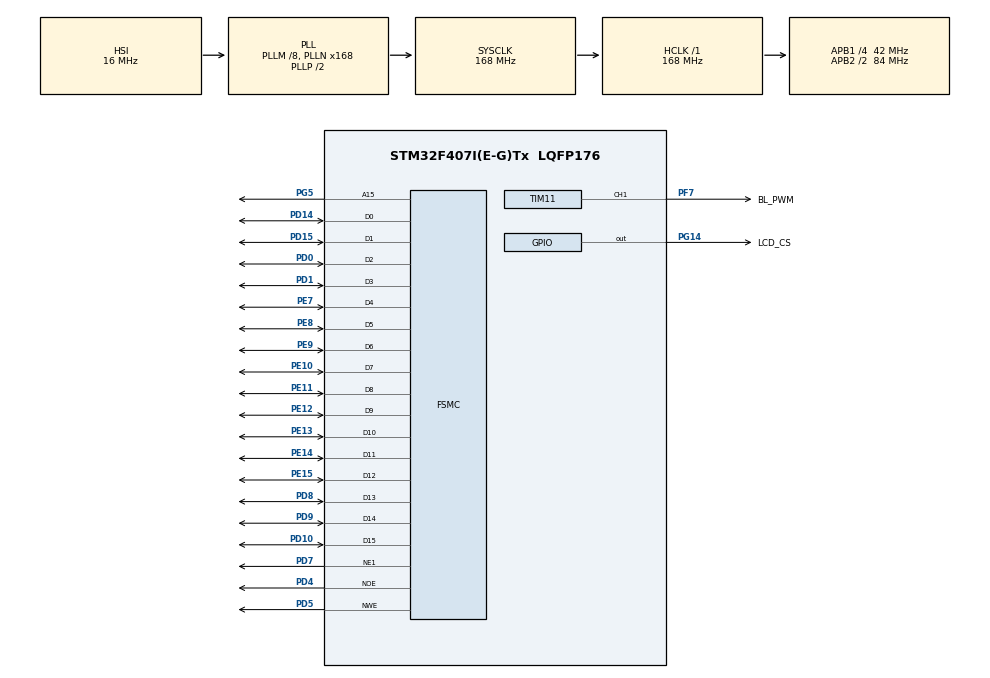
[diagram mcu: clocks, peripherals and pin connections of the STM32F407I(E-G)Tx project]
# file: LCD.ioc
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FSMC.AddressSetupTime1=4
FSMC.BusTurnAroundDuration1=0
FSMC.DataSetupTime1=40
Mcu.Family=STM32F4
Mcu.Name=STM32F407I(E-G)Tx
Mcu.Package=LQFP176
NVIC.PriorityGroup=NVIC_PRIORITYGROUP_4
NVIC.TIM1_TRG_COM_TIM11_IRQn=true\:0\:0\:false\:false\:true
PD0.Signal=FSMC_D2_DA2
PD1.Signal=FSMC_D3_DA3
PD10.Signal=FSMC_D15_DA15
PD14.Signal=FSMC_D0_DA0
PD15.Signal=FSMC_D1_DA1
PD4.Signal=FSMC_NOE
PD5.Signal=FSMC_NWE
PD7.Mode=NorPsramChipSelect1_1
PD7.Signal=FSMC_NE1
PD8.Signal=FSMC_D13_DA13
PD9.Signal=FSMC_D14_DA14
PE10.Signal=FSMC_D7_DA7
PE11.Signal=FSMC_D8_DA8
PE12.Signal=FSMC_D9_DA9
PE13.Signal=FSMC_D10_DA10
PE14.Signal=FSMC_D11_DA11
PE15.Signal=FSMC_D12_DA12
PE7.Signal=FSMC_D4_DA4
PE8.Signal=FSMC_D5_DA5
PE9.Signal=FSMC_D6_DA6
PF7.GPIO_Label=BL_PWM
PF7.Signal=S_TIM11_CH1
PG14.GPIO_Label=LCD_CS
PG14.Signal=GPIO_Output
PG5.Signal=FSMC_A15
PH0-OSC_IN.Mode=HSE-External-Oscillator
PH0-OSC_IN.Signal=RCC_OSC_IN
PH1-OSC_OUT.Mode=HSE-External-Oscillator
PH1-OSC_OUT.Signal=RCC_OSC_OUT
ProjectManager.HeapSize=0x200
ProjectManager.StackSize=0x400
ProjectManager.TargetToolchain=MDK-ARM V5
RCC.48MHZClocksFreq_Value=84000000
RCC.AHBFreq_Value=168000000
RCC.APB1CLKDivider=RCC_HCLK_DIV4
RCC.APB1Freq_Value=42000000
RCC.APB1TimFreq_Value=84000000
RCC.APB2CLKDivider=RCC_HCLK_DIV2
RCC.APB2Freq_Value=84000000
RCC.APB2TimFreq_Value=168000000
RCC.CortexFreq_Value=168000000
RCC.HCLKFreq_Value=168000000
RCC.HSE_VALUE=8000000
RCC.HSI_VALUE=16000000
RCC.LSE_VALUE=32768
RCC.PLLM=8
RCC.PLLN=168
RCC.SYSCLKFreq_VALUE=168000000
RCC.SYSCLKSource=RCC_SYSCLKSOURCE_PLLCLK
RCC.VCOOutputFreq_Value=336000000
SH.FSMC_A15.0=FSMC_A15,A15_1
SH.FSMC_D0_DA0.0=FSMC_D0,16b-d1
SH.FSMC_D10_DA10.0=FSMC_D10,16b-d1
SH.FSMC_D11_DA11.0=FSMC_D11,16b-d1
SH.FSMC_D12_DA12.0=FSMC_D12,16b-d1
SH.FSMC_D13_DA13.0=FSMC_D13,16b-d1
SH.FSMC_D14_DA14.0=FSMC_D14,16b-d1
SH.FSMC_D15_DA15.0=FSMC_D15,16b-d1
SH.FSMC_D1_DA1.0=FSMC_D1,16b-d1
SH.FSMC_D2_DA2.0=FSMC_D2,16b-d1
SH.FSMC_D3_DA3.0=FSMC_D3,16b-d1
SH.FSMC_D4_DA4.0=FSMC_D4,16b-d1
SH.FSMC_D5_DA5.0=FSMC_D5,16b-d1
SH.FSMC_D6_DA6.0=FSMC_D6,16b-d1
SH.FSMC_D7_DA7.0=FSMC_D7,16b-d1
SH.FSMC_D8_DA8.0=FSMC_D8,16b-d1
SH.FSMC_D9_DA9.0=FSMC_D9,16b-d1
SH.FSMC_NOE.0=FSMC_NOE,Lcd1
SH.FSMC_NWE.0=FSMC_NWE,Lcd1
SH.S_TIM11_CH1.0=TIM11_CH1,PWM Generation1 CH1
TIM11.ClockDivision=TIM_CLOCKDIVISION_DIV4
TIM11.Period=(2000-1)
TIM11.Prescaler=(420-1)
VP_TIM11_VS_ClockSourceINT.Mode=Enable_Timer
board=LCD

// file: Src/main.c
/**
  ******************************************************************************
  * File Name          : main.c
  * Description        : Main program body
  ******************************************************************************
  *
  * COPYRIGHT(c) 2017 STMicroelectronics
  *
  * Redistribution and use in source and binary forms, with or without modification,
  * are permitted provided that the following conditions are met:
  *   1. Redistributions of source code must retain the above copyright notice,
  *      this list of conditions and the following disclaimer.
  *   2. Redistributions in binary form must reproduce the above copyright notice,
  *      this list of conditions and the following disclaimer in the documentation
  *      and/or other materials provided with the distribution.
  *   3. Neither the name of STMicroelectronics nor the names of its contributors
  *      may be used to endorse or promote products derived from this software
  *      without specific prior written permission.
  *
  * THIS SOFTWARE IS PROVIDED BY THE COPYRIGHT HOLDERS AND CONTRIBUTORS "AS IS"
  * AND ANY EXPRESS OR IMPLIED WARRANTIES, INCLUDING, BUT NOT LIMITED TO, THE
  * IMPLIED WARRANTIES OF MERCHANTABILITY AND FITNESS FOR A PARTICULAR PURPOSE ARE
  * DISCLAIMED. IN NO EVENT SHALL THE COPYRIGHT HOLDER OR CONTRIBUTORS BE LIABLE
  * FOR ANY DIRECT, INDIRECT, INCIDENTAL, SPECIAL, EXEMPLARY, OR CONSEQUENTIAL
  * DAMAGES (INCLUDING, BUT NOT LIMITED TO, PROCUREMENT OF SUBSTITUTE GOODS OR
  * SERVICES; LOSS OF USE, DATA, OR PROFITS; OR BUSINESS INTERRUPTION) HOWEVER
  * CAUSED AND ON ANY THEORY OF LIABILITY, WHETHER IN CONTRACT, STRICT LIABILITY,
  * OR TORT (INCLUDING NEGLIGENCE OR OTHERWISE) ARISING IN ANY WAY OUT OF THE USE
  * OF THIS SOFTWARE, EVEN IF ADVISED OF THE POSSIBILITY OF SUCH DAMAGE.
  *
  ******************************************************************************
  */
#include "main.h"
#include "stm32f4xx_hal.h"
#include "tim.h"
#include "gpio.h"
#include "fsmc.h"

/* USER CODE BEGIN Includes */
#include "stm32_lcd_bsp.h"
/* USER CODE END Includes */

/* USER CODE BEGIN PV */
/* Private variables ---------------------------------------------------------*/

/* USER CODE END PV */

void SystemClock_Config(void);
void Error_Handler(void);

/* USER CODE BEGIN PFP */
/* Private function prototypes -----------------------------------------------*/
/**
  * This specifies the brightness of the backlight.
  *
  * By default the 0R resistor is not put on the solder bridge for PWM control.
  * that is, the backlight isn't adjustable because the PWM pin of the LCD is
  * not connected to any pins. In order to adjust the backlight by PWM, the PWM
  * pin should be connected to PF7 i.e. you should put a 0R resistor on the
  * PWM route, which connects the PWM pin of LCD to the PF7.
  *
  * value can be a number from 0 to 2000 (htim.Init.Period + 1).
  */
void setBacklight(uint16_t value)
{
  TIM_OC_InitTypeDef sConfigOC;
  sConfigOC.OCMode = TIM_OCMODE_PWM1;
  sConfigOC.Pulse = value;
  sConfigOC.OCPolarity = TIM_OCPOLARITY_HIGH;
  sConfigOC.OCFastMode = TIM_OCFAST_DISABLE;
  HAL_TIM_PWM_ConfigChannel(&htim11, &sConfigOC, TIM_CHANNEL_1);
  HAL_TIM_PWM_Start(&htim11, TIM_CHANNEL_1);
}

/* USER CODE END PFP */

int main(void)
{

  /* MCU Configuration----------------------------------------------------------*/

  /* Reset of all peripherals, Initializes the Flash interface and the Systick. */
  HAL_Init();

  /* Configure the system clock */
  SystemClock_Config();

  /* Initialize all configured peripherals */
  MX_GPIO_Init();
  MX_FSMC_Init();
  MX_TIM11_Init();

  /* USER CODE BEGIN 2 */
    /* LCD_CS pin (PG14) is used for chip select (active low) but it doesn't controlled by FSMC.
     You can only choose NE1(PD7), NE2(PG9), NE3(PG10) or NE4(PG12) for chip select in STM32CubeMX.
     However, STM32CubeMX doesn't allow PG14 as an alternative Chip Select pin. */
  HAL_GPIO_WritePin(LCD_CS_GPIO_Port, LCD_CS_Pin, GPIO_PIN_RESET);
  BSP_LCD_Init();
  BSP_LCD_Clear(LCD_COLOR_WHITE);
  BSP_LCD_SetBackColor(LCD_COLOR_YELLOW);
  BSP_LCD_SetTextColor(LCD_COLOR_BLUE);

  /* setBacklight(2000);                 only available if a 0R resistor is put on the PWM route,
                                         which connects the PWM pin of LCD to the PF7.   */

  /* USER CODE END 2 */

  /* Infinite loop */
  while (1)
  {

  /* USER CODE BEGIN 3 */
    BSP_LCD_Clear(LCD_COLOR_WHITE);
    BSP_LCD_SetFont(&Font16);
    BSP_LCD_DisplayStringAt(0, 100, (uint8_t *)"Copyright(c) Waveshare", CENTER_MODE);
    HAL_Delay(1000);
    BSP_LCD_Clear(LCD_COLOR_WHITE);
    BSP_LCD_DisplayStringAt(0, 120, (uint8_t *)"3.2inch LCD Demo", CENTER_MODE);
    HAL_Delay(1000);
  }
  /* USER CODE END 3 */

}

/** System Clock Configuration
*/
void SystemClock_Config(void)
{

  RCC_OscInitTypeDef RCC_OscInitStruct;
  RCC_ClkInitTypeDef RCC_ClkInitStruct;

    /**Configure the main internal regulator output voltage
    */
  __HAL_RCC_PWR_CLK_ENABLE();

  __HAL_PWR_VOLTAGESCALING_CONFIG(PWR_REGULATOR_VOLTAGE_SCALE1);

    /**Initializes the CPU, AHB and APB busses clocks
    */
  RCC_OscInitStruct.OscillatorType = RCC_OSCILLATORTYPE_HSI;
  RCC_OscInitStruct.HSIState = RCC_HSI_ON;
  RCC_OscInitStruct.HSICalibrationValue = 16;
  RCC_OscInitStruct.PLL.PLLState = RCC_PLL_ON;
  RCC_OscInitStruct.PLL.PLLSource = RCC_PLLSOURCE_HSI;
  RCC_OscInitStruct.PLL.PLLM = 8;
  RCC_OscInitStruct.PLL.PLLN = 168;
  RCC_OscInitStruct.PLL.PLLP = RCC_PLLP_DIV2;
  RCC_OscInitStruct.PLL.PLLQ = 4;
  if (HAL_RCC_OscConfig(&RCC_OscInitStruct) != HAL_OK)
  {
    Error_Handler();
  }

    /**Initializes the CPU, AHB and APB busses clocks
    */
  RCC_ClkInitStruct.ClockType = RCC_CLOCKTYPE_HCLK|RCC_CLOCKTYPE_SYSCLK
                              |RCC_CLOCKTYPE_PCLK1|RCC_CLOCKTYPE_PCLK2;
  RCC_ClkInitStruct.SYSCLKSource = RCC_SYSCLKSOURCE_PLLCLK;
  RCC_ClkInitStruct.AHBCLKDivider = RCC_SYSCLK_DIV1;
  RCC_ClkInitStruct.APB1CLKDivider = RCC_HCLK_DIV4;
  RCC_ClkInitStruct.APB2CLKDivider = RCC_HCLK_DIV2;

  if (HAL_RCC_ClockConfig(&RCC_ClkInitStruct, FLASH_LATENCY_5) != HAL_OK)
  {
    Error_Handler();
  }

    /**Configure the Systick interrupt time
    */
  HAL_SYSTICK_Config(HAL_RCC_GetHCLKFreq()/1000);

    /**Configure the Systick
    */
  HAL_SYSTICK_CLKSourceConfig(SYSTICK_CLKSOURCE_HCLK);

  /* SysTick_IRQn interrupt configuration */
  HAL_NVIC_SetPriority(SysTick_IRQn, 0, 0);
}

void Error_Handler(void)
{
  while(1)
  {
  }
}

/************************ (C) COPYRIGHT STMicroelectronics *****END OF FILE****/
